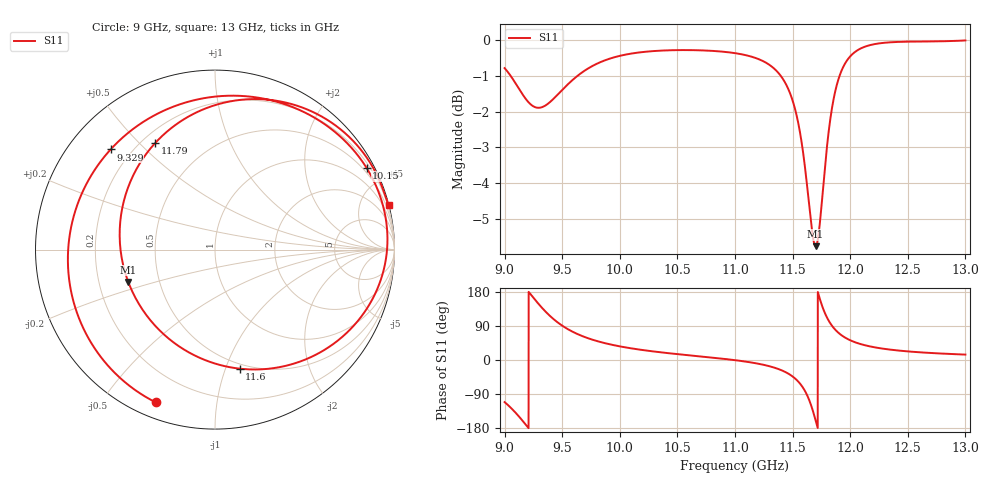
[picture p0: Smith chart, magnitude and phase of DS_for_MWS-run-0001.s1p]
! TOUCHSTONE file generated by CST DESIGN STUDIO
! Date and time: Tue Feb  4 13:53:30 2025
! Project name: C:\Work\MatlabApps\UnitCellOptimizationMatlab\CST\unitcell.cst
! Tree item: Tasks\Sweep1\SPara1\S-Parameters
! Header version: 2024
! Port assignment regex: !\s*Touchstone port\s*([0-9]+)\s*=\s*(CST MWS port|CST DES external port|CST DES block port)\s*(.+)\s* \(\"(.*)\"\)(\s*mode\s*([0-9]+))?.*
! Touchstone port assignment:
! Touchstone port 1 = CST DES external port 1 ("")
# GHz S MA R 50
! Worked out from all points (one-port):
!   4001 points, 9 GHz to 13 GHz, reference 50 ohm
!   lowest |S11| = -5.8 dB at 11.7 GHz (marker M1), VSWR 3.13, Z = 16.4 - j8.05 ohm
!   |S11| at or under -10 dB: nowhere
!   S11 on the Smith chart (normalised r, x): 9 GHz: 0.07, -0.68; 9.329 GHz: 0.12, +0.40; 10.15 GHz: 0.34, +3.93; 11.6 GHz: 0.46, -1.12; 11.79 GHz: 0.25, +0.56; 13 GHz: 0.07, +7.99
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9  0.913 -111.1
9.081  0.8767 -134.5
9.177  0.8299 -168.2
9.247  0.8081 165.4
9.329  0.806 136.2
9.409  0.8229 112.1
9.5  0.8513 90.6
9.719  0.9108 58.0
10  0.9497 36.0
10.151  0.9593 28.3
10.5  0.9673 15.5
11  0.958 -0.4
11.326  0.9157 -18.7
11.424  0.8776 -29.8
11.5  0.8228 -43.5
11.552  0.7614 -57.9
11.601  0.6773 -78.3
11.651  0.573 -111.2
11.7  0.5157 -159.6
11.741  0.5643 156.7
11.787  0.6809 119.3
11.823  0.7663 98.8
11.865  0.8404 81.7
11.928  0.9081 64.6
12  0.9481 52.1
12.185  0.9841 35.0
12.5  0.9939 22.7
13  0.9978 14.3
